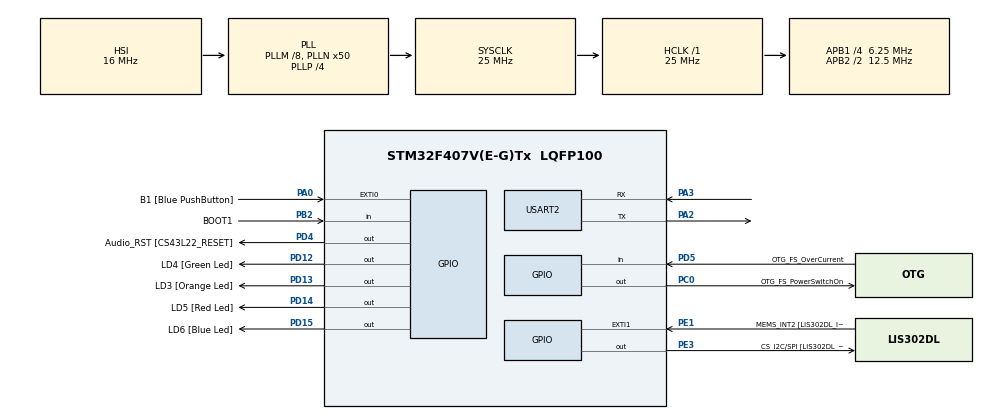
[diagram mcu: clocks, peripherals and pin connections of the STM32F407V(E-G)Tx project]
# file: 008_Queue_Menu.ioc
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Mcu.Family=STM32F4
Mcu.Name=STM32F407V(E-G)Tx
Mcu.Package=LQFP100
NVIC.PriorityGroup=NVIC_PRIORITYGROUP_4
NVIC.TIM6_DAC_IRQn=true\:0\:0\:false\:false\:true\:false\:true\:true
NVIC.TimeBase=TIM6_DAC_IRQn
NVIC.TimeBaseIP=TIM6
NVIC.USART2_IRQn=true\:6\:0\:true\:false\:true\:true\:true\:true
PA0-WKUP.GPIO_Label=B1 [Blue PushButton]
PA0-WKUP.Signal=GPXTI0
PA10.GPIO_Label=OTG_FS_ID
PA10.GPIO_Mode=GPIO_MODE_AF_PP
PA10.GPIO_PuPd=GPIO_NOPULL
PA10.GPIO_Speed=GPIO_SPEED_FREQ_LOW
PA10.Signal=USB_OTG_FS_ID
PA11.GPIO_Label=OTG_FS_DM
PA11.GPIO_Mode=GPIO_MODE_AF_PP
PA11.GPIO_PuPd=GPIO_NOPULL
PA11.GPIO_Speed=GPIO_SPEED_FREQ_LOW
PA11.Signal=USB_OTG_FS_DM
PA12.GPIO_Label=OTG_FS_DP
PA12.GPIO_Mode=GPIO_MODE_AF_PP
PA12.GPIO_PuPd=GPIO_NOPULL
PA12.GPIO_Speed=GPIO_SPEED_FREQ_LOW
PA12.Signal=USB_OTG_FS_DP
PA13.GPIO_Label=SWDIO
PA13.Signal=SYS_JTMS-SWDIO
PA14.GPIO_Label=SWCLK
PA14.Signal=SYS_JTCK-SWCLK
PA2.Mode=Asynchronous
PA2.Signal=USART2_TX
PA3.Mode=Asynchronous
PA3.Signal=USART2_RX
PA4.GPIO_Label=I2S3_WS [CS43L22_LRCK]
PA4.GPIO_Mode=GPIO_MODE_AF_PP
PA4.GPIO_PuPd=GPIO_NOPULL
PA4.GPIO_Speed=GPIO_SPEED_FREQ_LOW
PA4.Signal=I2S3_WS
PA5.GPIO_Label=SPI1_SCK [LIS302DL_SCL/SPC]
PA5.GPIO_Mode=GPIO_MODE_AF_PP
PA5.GPIO_PuPd=GPIO_NOPULL
PA5.GPIO_Speed=GPIO_SPEED_FREQ_LOW
PA5.Signal=SPI1_SCK
PA6.GPIO_Label=SPI1_MISO [LIS302DL_SDO]
PA6.GPIO_Mode=GPIO_MODE_AF_PP
PA6.GPIO_PuPd=GPIO_NOPULL
PA6.GPIO_Speed=GPIO_SPEED_FREQ_LOW
PA6.Signal=SPI1_MISO
PA7.GPIO_Label=SPI1_MOSI [LIS302DL_SDA/SDI/SDO]
PA7.GPIO_Mode=GPIO_MODE_AF_PP
PA7.GPIO_PuPd=GPIO_NOPULL
PA7.GPIO_Speed=GPIO_SPEED_FREQ_LOW
PA7.Signal=SPI1_MOSI
PA9.GPIO_Label=VBUS_FS
PA9.GPIO_Mode=GPIO_MODE_INPUT
PA9.GPIO_PuPd=GPIO_NOPULL
PA9.Signal=USB_OTG_FS_VBUS
PB10.GPIO_Label=CLK_IN [MP45DT02_CLK]
PB10.GPIO_Mode=GPIO_MODE_AF_PP
PB10.GPIO_PuPd=GPIO_NOPULL
PB10.GPIO_Speed=GPIO_SPEED_FREQ_LOW
PB10.Signal=I2S2_CK
PB2.GPIO_Label=BOOT1
PB2.GPIO_Mode=GPIO_MODE_INPUT
PB2.GPIO_PuPd=GPIO_NOPULL
PB2.Signal=GPIO_Input
PB3.GPIO_Label=SWO
PB3.Signal=SYS_JTDO-SWO
PB6.GPIO_Label=Audio_SCL [CS43L22_SCL]
PB6.GPIO_Mode=GPIO_MODE_AF_OD
PB6.GPIO_PuPd=GPIO_NOPULL
PB6.GPIO_Speed=GPIO_SPEED_FREQ_LOW
PB6.Signal=I2C1_SCL
PB9.GPIO_Label=Audio_SDA [CS43L22_SDA]
PB9.GPIO_Mode=GPIO_MODE_AF_OD
PB9.GPIO_PuPd=GPIO_NOPULL
PB9.GPIO_Speed=GPIO_SPEED_FREQ_LOW
PB9.Signal=I2C1_SDA
PC0.GPIO_Label=OTG_FS_PowerSwitchOn
PC0.GPIO_PuPd=GPIO_NOPULL
PC0.GPIO_Speed=GPIO_SPEED_FREQ_LOW
PC0.PinState=GPIO_PIN_SET
PC0.Signal=GPIO_Output
PC10.GPIO_Label=I2S3_SCK [CS43L22_SCLK]
PC10.GPIO_Mode=GPIO_MODE_AF_PP
PC10.GPIO_PuPd=GPIO_NOPULL
PC10.GPIO_Speed=GPIO_SPEED_FREQ_LOW
PC10.Signal=I2S3_CK
PC12.GPIO_Label=I2S3_SD [CS43L22_SDIN]
PC12.GPIO_Mode=GPIO_MODE_AF_PP
PC12.GPIO_PuPd=GPIO_NOPULL
PC12.GPIO_Speed=GPIO_SPEED_FREQ_LOW
PC12.Signal=I2S3_SD
PC14-OSC32_IN.GPIO_Label=PC14-OSC32_IN
PC14-OSC32_IN.Signal=RCC_OSC32_IN
PC15-OSC32_OUT.GPIO_Label=PC15-OSC32_OUT
PC15-OSC32_OUT.Signal=RCC_OSC32_OUT
PC3.GPIO_Label=PDM_OUT [MP45DT02_DOUT]
PC3.GPIO_Mode=GPIO_MODE_AF_PP
PC3.GPIO_PuPd=GPIO_NOPULL
PC3.GPIO_Speed=GPIO_SPEED_FREQ_LOW
PC3.Signal=I2S2_SD
PC7.GPIO_Label=I2S3_MCK [CS43L22_MCLK]
PC7.GPIO_Mode=GPIO_MODE_AF_PP
PC7.GPIO_PuPd=GPIO_NOPULL
PC7.GPIO_Speed=GPIO_SPEED_FREQ_LOW
PC7.Signal=I2S3_MCK
PD12.GPIO_Label=LD4 [Green Led]
PD12.GPIO_PuPd=GPIO_NOPULL
PD12.GPIO_Speed=GPIO_SPEED_FREQ_LOW
PD12.Signal=GPIO_Output
PD13.GPIO_Label=LD3 [Orange Led]
PD13.GPIO_PuPd=GPIO_NOPULL
PD13.GPIO_Speed=GPIO_SPEED_FREQ_LOW
PD13.Signal=GPIO_Output
PD14.GPIO_Label=LD5 [Red Led]
PD14.GPIO_PuPd=GPIO_NOPULL
PD14.GPIO_Speed=GPIO_SPEED_FREQ_LOW
PD14.Signal=GPIO_Output
PD15.GPIO_Label=LD6 [Blue Led]
PD15.GPIO_PuPd=GPIO_NOPULL
PD15.GPIO_Speed=GPIO_SPEED_FREQ_LOW
PD15.Signal=GPIO_Output
PD4.GPIO_Label=Audio_RST [CS43L22_RESET]
PD4.GPIO_PuPd=GPIO_NOPULL
PD4.GPIO_Speed=GPIO_SPEED_FREQ_LOW
PD4.Signal=GPIO_Output
PD5.GPIO_Label=OTG_FS_OverCurrent
PD5.GPIO_Mode=GPIO_MODE_INPUT
PD5.GPIO_PuPd=GPIO_NOPULL
PD5.Signal=GPIO_Input
PE1.GPIO_Label=MEMS_INT2 [LIS302DL_INT2]
PE1.GPIO_ModeDefaultEXTI=GPIO_MODE_EVT_RISING
PE1.GPIO_PuPd=GPIO_NOPULL
PE1.Signal=GPXTI1
PE3.GPIO_Label=CS_I2C/SPI [LIS302DL_CS_I2C/SPI]
PE3.GPIO_PuPd=GPIO_NOPULL
PE3.GPIO_Speed=GPIO_SPEED_FREQ_LOW
PE3.Signal=GPIO_Output
PH0-OSC_IN.GPIO_Label=PH0-OSC_IN
PH0-OSC_IN.Signal=RCC_OSC_IN
PH1-OSC_OUT.GPIO_Label=PH1-OSC_OUT
PH1-OSC_OUT.Signal=RCC_OSC_OUT
ProjectManager.HeapSize=0x200
ProjectManager.StackSize=0x400
ProjectManager.TargetToolchain=STM32CubeIDE
RCC.48MHZClocksFreq_Value=14285714.285714285
RCC.AHBFreq_Value=25000000
RCC.APB1CLKDivider=RCC_HCLK_DIV4
RCC.APB1Freq_Value=6250000
RCC.APB1TimFreq_Value=12500000
RCC.APB2CLKDivider=RCC_HCLK_DIV2
RCC.APB2Freq_Value=12500000
RCC.APB2TimFreq_Value=25000000
RCC.CortexFreq_Value=25000000
RCC.HCLKFreq_Value=25000000
RCC.HSE_VALUE=8000000
RCC.HSI_VALUE=16000000
RCC.LSE_VALUE=32768
RCC.PLLM=8
RCC.PLLN=50
RCC.PLLP=RCC_PLLP_DIV4
RCC.PLLQ=7
RCC.SYSCLKFreq_VALUE=25000000
RCC.SYSCLKSource=RCC_SYSCLKSOURCE_PLLCLK
RCC.VCOOutputFreq_Value=100000000
RTC.HourFormat=RTC_HOURFORMAT_12
USART2.VirtualMode=VM_ASYNC
VP_RTC_VS_RTC_Activate.Mode=RTC_Enabled
VP_SYS_VS_tim6.Mode=TIM6
board=STM32F407G-DISC1

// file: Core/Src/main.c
/* USER CODE BEGIN Header */
/**
  ******************************************************************************
  * @file           : main.c
  * @brief          : Main program body
  ******************************************************************************
  * @attention
  *
  * Copyright (c) 2024 STMicroelectronics.
  * All rights reserved.
  *
  * This software is licensed under terms that can be found in the LICENSE file
  * in the root directory of this software component.
  * If no LICENSE file comes with this software, it is provided AS-IS.
  *
  ******************************************************************************
  */
/* USER CODE END Header */
#include "main.h"

RTC_HandleTypeDef hrtc;

UART_HandleTypeDef huart2;

/* USER CODE BEGIN PV */
xTaskHandle handle_menu_task;
xTaskHandle handle_led_task;
xTaskHandle handle_rtc_task;
xTaskHandle handle_print_task;
xTaskHandle handle_cmd_task;

QueueHandle_t q_data;
QueueHandle_t q_print;

TimerHandle_t handle_led_timer[4];

volatile uint8_t user_data;

state_t currentState=mainMenu;

/* USER CODE END PV */

void SystemClock_Config(void);
static void MX_GPIO_Init(void);
static void MX_RTC_Init(void);
static void MX_USART2_UART_Init(void);
/* USER CODE BEGIN PFP */
void led_effect_callback(TimerHandle_t xTimer);
/* USER CODE END PFP */

int main(void)
{
  /* USER CODE BEGIN 1 */
	BaseType_t status;
  /* USER CODE END 1 */

  /* MCU Configuration--------------------------------------------------------*/

  /* Reset of all peripherals, Initializes the Flash interface and the Systick. */
  HAL_Init();

  /* Configure the system clock */
  SystemClock_Config();

  /* Initialize all configured peripherals */
  MX_GPIO_Init();
  MX_RTC_Init();
  MX_USART2_UART_Init();
  /* USER CODE BEGIN 2 */
   status=xTaskCreate(menu_task, "menuTask", 250, NULL, 2, &handle_menu_task);
   /*ConfigASSERT() is set to trigger a breakpoint if the assertion fails.*/
   configASSERT(status==pdPASS);

   status=xTaskCreate(led_task, "LEDTask", 250, NULL, 2, &handle_led_task);
   configASSERT(status==pdPASS);

   status=xTaskCreate(cmd_task, "cmdTask", 250, NULL, 2, &handle_cmd_task);
   configASSERT(status==pdPASS);

   status=xTaskCreate(print_task, "printTask", 250, NULL, 2, &handle_print_task);
   configASSERT(status==pdPASS);

   status=xTaskCreate(rtc_task, "rtcTask", 250, NULL, 2, &handle_rtc_task);
   configASSERT(status==pdPASS);

   q_data=xQueueCreate(10,sizeof(char));
   configASSERT(q_data!=NULL);

   q_print=xQueueCreate(10,sizeof(size_t));
   configASSERT(q_data!=NULL);

   for(int i=0;i<4;i++){
	   handle_led_timer[i]= xTimerCreate("ledTimer", pdMS_TO_TICKS(250), pdTRUE, (void*)i+1, led_effect_callback);
   }

   HAL_UART_Receive_IT(&huart2, (uint8_t *)&user_data,1 );

   vTaskStartScheduler();

  /* USER CODE END 2 */

  /* Infinite loop */
  while (1)
  {

  }
}

void SystemClock_Config(void)
{
  RCC_OscInitTypeDef RCC_OscInitStruct = {0};
  RCC_ClkInitTypeDef RCC_ClkInitStruct = {0};

  /** Configure the main internal regulator output voltage
  */
  __HAL_RCC_PWR_CLK_ENABLE();
  __HAL_PWR_VOLTAGESCALING_CONFIG(PWR_REGULATOR_VOLTAGE_SCALE1);

  /** Initializes the RCC Oscillators according to the specified parameters
  * in the RCC_OscInitTypeDef structure.
  */
  RCC_OscInitStruct.OscillatorType = RCC_OSCILLATORTYPE_HSI|RCC_OSCILLATORTYPE_LSI;
  RCC_OscInitStruct.HSIState = RCC_HSI_ON;
  RCC_OscInitStruct.HSICalibrationValue = RCC_HSICALIBRATION_DEFAULT;
  RCC_OscInitStruct.LSIState = RCC_LSI_ON;
  RCC_OscInitStruct.PLL.PLLState = RCC_PLL_ON;
  RCC_OscInitStruct.PLL.PLLSource = RCC_PLLSOURCE_HSI;
  RCC_OscInitStruct.PLL.PLLM = 8;
  RCC_OscInitStruct.PLL.PLLN = 50;
  RCC_OscInitStruct.PLL.PLLP = RCC_PLLP_DIV4;
  RCC_OscInitStruct.PLL.PLLQ = 7;
  if (HAL_RCC_OscConfig(&RCC_OscInitStruct) != HAL_OK)
  {
    Error_Handler();
  }

  /** Initializes the CPU, AHB and APB buses clocks
  */
  RCC_ClkInitStruct.ClockType = RCC_CLOCKTYPE_HCLK|RCC_CLOCKTYPE_SYSCLK
                              |RCC_CLOCKTYPE_PCLK1|RCC_CLOCKTYPE_PCLK2;
  RCC_ClkInitStruct.SYSCLKSource = RCC_SYSCLKSOURCE_PLLCLK;
  RCC_ClkInitStruct.AHBCLKDivider = RCC_SYSCLK_DIV1;
  RCC_ClkInitStruct.APB1CLKDivider = RCC_HCLK_DIV4;
  RCC_ClkInitStruct.APB2CLKDivider = RCC_HCLK_DIV2;

  if (HAL_RCC_ClockConfig(&RCC_ClkInitStruct, FLASH_LATENCY_0) != HAL_OK)
  {
    Error_Handler();
  }
}

static void MX_RTC_Init(void)
{

  /** Initialize RTC Only
  */
  hrtc.Instance = RTC;
  hrtc.Init.HourFormat = RTC_HOURFORMAT_12;
  hrtc.Init.AsynchPrediv = 127;
  hrtc.Init.SynchPrediv = 255;
  hrtc.Init.OutPut = RTC_OUTPUT_DISABLE;
  hrtc.Init.OutPutPolarity = RTC_OUTPUT_POLARITY_HIGH;
  hrtc.Init.OutPutType = RTC_OUTPUT_TYPE_OPENDRAIN;
  if (HAL_RTC_Init(&hrtc) != HAL_OK)
  {
    Error_Handler();
  }

}

static void MX_USART2_UART_Init(void)
{

  huart2.Instance = USART2;
  huart2.Init.BaudRate = 115200;
  huart2.Init.WordLength = UART_WORDLENGTH_8B;
  huart2.Init.StopBits = UART_STOPBITS_1;
  huart2.Init.Parity = UART_PARITY_NONE;
  huart2.Init.Mode = UART_MODE_TX_RX;
  huart2.Init.HwFlowCtl = UART_HWCONTROL_NONE;
  huart2.Init.OverSampling = UART_OVERSAMPLING_16;
  if (HAL_UART_Init(&huart2) != HAL_OK)
  {
    Error_Handler();
  }

}

static void MX_GPIO_Init(void)
{
  GPIO_InitTypeDef GPIO_InitStruct = {0};

  /* GPIO Ports Clock Enable */
  __HAL_RCC_GPIOE_CLK_ENABLE();
  __HAL_RCC_GPIOC_CLK_ENABLE();
  __HAL_RCC_GPIOH_CLK_ENABLE();
  __HAL_RCC_GPIOA_CLK_ENABLE();
  __HAL_RCC_GPIOB_CLK_ENABLE();
  __HAL_RCC_GPIOD_CLK_ENABLE();

  /*Configure GPIO pin Output Level */
  HAL_GPIO_WritePin(CS_I2C_SPI_GPIO_Port, CS_I2C_SPI_Pin, GPIO_PIN_RESET);

  /*Configure GPIO pin Output Level */
  HAL_GPIO_WritePin(OTG_FS_PowerSwitchOn_GPIO_Port, OTG_FS_PowerSwitchOn_Pin, GPIO_PIN_SET);

  /*Configure GPIO pin Output Level */
  HAL_GPIO_WritePin(GPIOD, LD4_Pin|LD3_Pin|LD5_Pin|LD6_Pin
                          |Audio_RST_Pin, GPIO_PIN_RESET);

  /*Configure GPIO pin : CS_I2C_SPI_Pin */
  GPIO_InitStruct.Pin = CS_I2C_SPI_Pin;
  GPIO_InitStruct.Mode = GPIO_MODE_OUTPUT_PP;
  GPIO_InitStruct.Pull = GPIO_NOPULL;
  GPIO_InitStruct.Speed = GPIO_SPEED_FREQ_LOW;
  HAL_GPIO_Init(CS_I2C_SPI_GPIO_Port, &GPIO_InitStruct);

  /*Configure GPIO pin : OTG_FS_PowerSwitchOn_Pin */
  GPIO_InitStruct.Pin = OTG_FS_PowerSwitchOn_Pin;
  GPIO_InitStruct.Mode = GPIO_MODE_OUTPUT_PP;
  GPIO_InitStruct.Pull = GPIO_NOPULL;
  GPIO_InitStruct.Speed = GPIO_SPEED_FREQ_LOW;
  HAL_GPIO_Init(OTG_FS_PowerSwitchOn_GPIO_Port, &GPIO_InitStruct);

  /*Configure GPIO pin : PDM_OUT_Pin */
  GPIO_InitStruct.Pin = PDM_OUT_Pin;
  GPIO_InitStruct.Mode = GPIO_MODE_AF_PP;
  GPIO_InitStruct.Pull = GPIO_NOPULL;
  GPIO_InitStruct.Speed = GPIO_SPEED_FREQ_LOW;
  GPIO_InitStruct.Alternate = GPIO_AF5_SPI2;
  HAL_GPIO_Init(PDM_OUT_GPIO_Port, &GPIO_InitStruct);

  /*Configure GPIO pin : B1_Pin */
  GPIO_InitStruct.Pin = B1_Pin;
  GPIO_InitStruct.Mode = GPIO_MODE_IT_RISING;
  GPIO_InitStruct.Pull = GPIO_NOPULL;
  HAL_GPIO_Init(B1_GPIO_Port, &GPIO_InitStruct);

  /*Configure GPIO pin : I2S3_WS_Pin */
  GPIO_InitStruct.Pin = I2S3_WS_Pin;
  GPIO_InitStruct.Mode = GPIO_MODE_AF_PP;
  GPIO_InitStruct.Pull = GPIO_NOPULL;
  GPIO_InitStruct.Speed = GPIO_SPEED_FREQ_LOW;
  GPIO_InitStruct.Alternate = GPIO_AF6_SPI3;
  HAL_GPIO_Init(I2S3_WS_GPIO_Port, &GPIO_InitStruct);

  /*Configure GPIO pins : SPI1_SCK_Pin SPI1_MISO_Pin SPI1_MOSI_Pin */
  GPIO_InitStruct.Pin = SPI1_SCK_Pin|SPI1_MISO_Pin|SPI1_MOSI_Pin;
  GPIO_InitStruct.Mode = GPIO_MODE_AF_PP;
  GPIO_InitStruct.Pull = GPIO_NOPULL;
  GPIO_InitStruct.Speed = GPIO_SPEED_FREQ_LOW;
  GPIO_InitStruct.Alternate = GPIO_AF5_SPI1;
  HAL_GPIO_Init(GPIOA, &GPIO_InitStruct);

  /*Configure GPIO pin : BOOT1_Pin */
  GPIO_InitStruct.Pin = BOOT1_Pin;
  GPIO_InitStruct.Mode = GPIO_MODE_INPUT;
  GPIO_InitStruct.Pull = GPIO_NOPULL;
  HAL_GPIO_Init(BOOT1_GPIO_Port, &GPIO_InitStruct);

  /*Configure GPIO pin : CLK_IN_Pin */
  GPIO_InitStruct.Pin = CLK_IN_Pin;
  GPIO_InitStruct.Mode = GPIO_MODE_AF_PP;
  GPIO_InitStruct.Pull = GPIO_NOPULL;
  GPIO_InitStruct.Speed = GPIO_SPEED_FREQ_LOW;
  GPIO_InitStruct.Alternate = GPIO_AF5_SPI2;
  HAL_GPIO_Init(CLK_IN_GPIO_Port, &GPIO_InitStruct);

  /*Configure GPIO pins : LD4_Pin LD3_Pin LD5_Pin LD6_Pin
                           Audio_RST_Pin */
  GPIO_InitStruct.Pin = LD4_Pin|LD3_Pin|LD5_Pin|LD6_Pin
                          |Audio_RST_Pin;
  GPIO_InitStruct.Mode = GPIO_MODE_OUTPUT_PP;
  GPIO_InitStruct.Pull = GPIO_NOPULL;
  GPIO_InitStruct.Speed = GPIO_SPEED_FREQ_LOW;
  HAL_GPIO_Init(GPIOD, &GPIO_InitStruct);

  /*Configure GPIO pins : I2S3_MCK_Pin I2S3_SCK_Pin I2S3_SD_Pin */
  GPIO_InitStruct.Pin = I2S3_MCK_Pin|I2S3_SCK_Pin|I2S3_SD_Pin;
  GPIO_InitStruct.Mode = GPIO_MODE_AF_PP;
  GPIO_InitStruct.Pull = GPIO_NOPULL;
  GPIO_InitStruct.Speed = GPIO_SPEED_FREQ_LOW;
  GPIO_InitStruct.Alternate = GPIO_AF6_SPI3;
  HAL_GPIO_Init(GPIOC, &GPIO_InitStruct);

  /*Configure GPIO pin : VBUS_FS_Pin */
  GPIO_InitStruct.Pin = VBUS_FS_Pin;
  GPIO_InitStruct.Mode = GPIO_MODE_INPUT;
  GPIO_InitStruct.Pull = GPIO_NOPULL;
  HAL_GPIO_Init(VBUS_FS_GPIO_Port, &GPIO_InitStruct);

  /*Configure GPIO pins : OTG_FS_ID_Pin OTG_FS_DM_Pin OTG_FS_DP_Pin */
  GPIO_InitStruct.Pin = OTG_FS_ID_Pin|OTG_FS_DM_Pin|OTG_FS_DP_Pin;
  GPIO_InitStruct.Mode = GPIO_MODE_AF_PP;
  GPIO_InitStruct.Pull = GPIO_NOPULL;
  GPIO_InitStruct.Speed = GPIO_SPEED_FREQ_LOW;
  GPIO_InitStruct.Alternate = GPIO_AF10_OTG_FS;
  HAL_GPIO_Init(GPIOA, &GPIO_InitStruct);

  /*Configure GPIO pin : OTG_FS_OverCurrent_Pin */
  GPIO_InitStruct.Pin = OTG_FS_OverCurrent_Pin;
  GPIO_InitStruct.Mode = GPIO_MODE_INPUT;
  GPIO_InitStruct.Pull = GPIO_NOPULL;
  HAL_GPIO_Init(OTG_FS_OverCurrent_GPIO_Port, &GPIO_InitStruct);

  /*Configure GPIO pins : Audio_SCL_Pin Audio_SDA_Pin */
  GPIO_InitStruct.Pin = Audio_SCL_Pin|Audio_SDA_Pin;
  GPIO_InitStruct.Mode = GPIO_MODE_AF_OD;
  GPIO_InitStruct.Pull = GPIO_NOPULL;
  GPIO_InitStruct.Speed = GPIO_SPEED_FREQ_LOW;
  GPIO_InitStruct.Alternate = GPIO_AF4_I2C1;
  HAL_GPIO_Init(GPIOB, &GPIO_InitStruct);

  /*Configure GPIO pin : MEMS_INT2_Pin */
  GPIO_InitStruct.Pin = MEMS_INT2_Pin;
  GPIO_InitStruct.Mode = GPIO_MODE_EVT_RISING;
  GPIO_InitStruct.Pull = GPIO_NOPULL;
  HAL_GPIO_Init(MEMS_INT2_GPIO_Port, &GPIO_InitStruct);

}

/* USER CODE BEGIN 4 */

void led_effect_callback(TimerHandle_t xTimer)
{
	 int id;
	 id = ( uint32_t ) pvTimerGetTimerID( xTimer );

	 switch(id)
	 {
	 case 1 :
		 LED_effect1();
		 break;
	 case 2:
		 LED_effect2();
		 break;
	 case 3:
		 LED_effect3();
		 break;
	 case 4:
		 LED_effect4();
	 }

}

void HAL_UART_RxCpltCallback(UART_HandleTypeDef *huart)
{
	uint8_t dummy;
	if(!xQueueIsQueueFullFromISR(q_data))
	{
		xQueueSendFromISR(q_data,(void*)&user_data,NULL);
	}
	else
	{
		if(user_data=='\n')
		{
			xQueueReceiveFromISR(q_data, (void*)&dummy, NULL);
			xQueueSendFromISR(q_data,(void*)&user_data,NULL);
		}
	}

	if(user_data=='\n')
	{
		xTaskNotifyFromISR(handle_cmd_task,0,eNoAction,NULL);
	}
	HAL_UART_Receive_IT(&huart2,(uint8_t*)&user_data,1);
}

/* USER CODE END 4 */

void HAL_TIM_PeriodElapsedCallback(TIM_HandleTypeDef *htim)
{
  if (htim->Instance == TIM6) {
    HAL_IncTick();
  }
}

void Error_Handler(void)
{
  __disable_irq();
  while (1)
  {
  }
}
